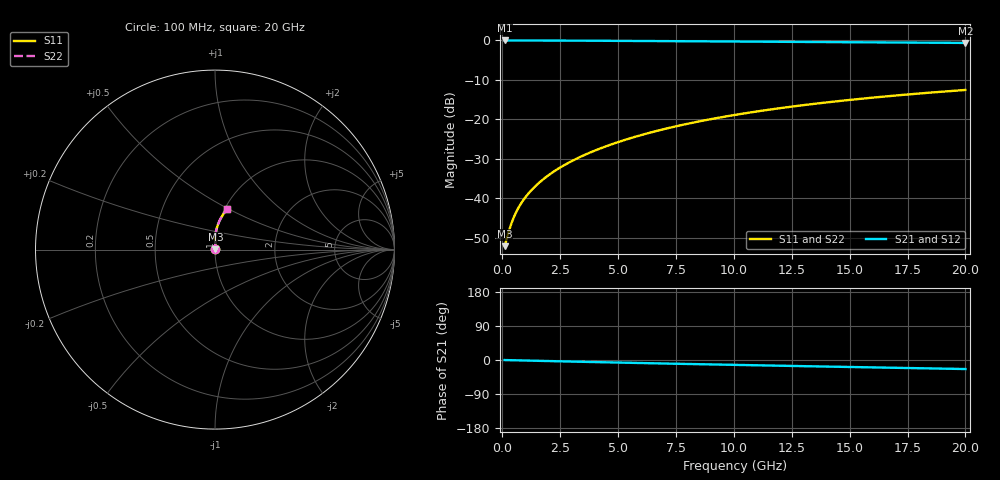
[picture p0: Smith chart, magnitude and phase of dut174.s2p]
! Touchstone file exported from HFSS 2024.1.0
!  File:  C:/UserFiles/LocalFiles/RDL_TSV_Batchsim/temp_RDL_top_174_1778685948.aedt
!  Generated:  11:28:07 PM May 13, 2026
!  Design:  RDL_top
!  Project:  temp_RDL_top_174_1778685948
!  Setup:  Setup1
!  Solution:  Sweep
! Variables:
!  dtsv = 10.80580581um
!  hbump = 3um
!  htsv = 74.75um
!  ldown = 100um
!  lrdl = 308.26um
!  p = 40
!  p1 = 52.04um
!  rhole = 1um
!  t = 450um
!  tdown = 3.915915916um
!  trdl = 2.26um
!  wdown = 15.38538539um
!  wrdl = 26.26um
# GHz S MA R 50.000000
! Terminal data exported
! Port[1] = Box2_T1
! Port[2] = Box2_T2
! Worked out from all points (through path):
!   200 points, 100 MHz to 20 GHz, reference 50 ohm
!   highest |S21| = -0.02 dB at 100 MHz (marker M1); lowest = -0.6 dB at 20 GHz (marker M2)
!   group delay of S21, straight-line fit = 3.27 ps
!   lowest |S11| = -52.1 dB at 100 MHz (marker M3), VSWR 1.00, Z = 50.2 + j0.109 ohm
!   |S11| at or under -10 dB: start of sweep to end of sweep
!   |S22| runs from -52.1 to -12.6 dB; largest |S21 - S12| = 4.2e-15
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0.1  0.002471 26.1  0.9978 -0.1  0.9978 -0.1  0.002471 26.1
! Gamma 0 0 0 0
! Port Impedance 50 0 50 0
0.3  0.00396 54.0  0.9976 -0.4  0.9976 -0.4  0.003961 54.0
0.4  0.004854 60.4  0.9974 -0.6  0.9974 -0.6  0.004855 60.3
0.5  0.005766 64.7  0.9973 -0.7  0.9973 -0.7  0.005766 64.6
0.6  0.006677 67.8  0.9972 -0.9  0.9972 -0.9  0.006676 67.7
0.7  0.007585 70.2  0.997 -1.0  0.997 -1.0  0.007584 70.1
0.9  0.009394 73.8  0.9968 -1.3  0.9968 -1.3  0.009392 73.7
1.2  0.01212 77.5  0.9964 -1.7  0.9964 -1.7  0.01212 77.5
1.7  0.01676 81.5  0.9956 -2.4  0.9956 -2.4  0.01675 81.5
2.2  0.02155 84.1  0.9946 -3.1  0.9946 -3.1  0.02155 84.1
2.8  0.02753 86.2  0.9932 -3.9  0.9932 -3.9  0.02753 86.2
3.5  0.0348 87.7  0.9913 -4.8  0.9913 -4.8  0.0348 87.7
4.2  0.04239 88.6  0.9891 -5.8  0.9891 -5.8  0.04239 88.6
5  0.05143 89.1  0.9864 -6.8  0.9864 -6.8  0.05142 89.1
5.9  0.06198 89.2  0.9831 -7.9  0.9831 -7.9  0.06198 89.2
6.8  0.07288 88.9  0.9797 -9.1  0.9797 -9.1  0.07287 88.9
8.4  0.09281 87.7  0.9735 -11.0  0.9735 -11.0  0.0928 87.7
10.1  0.1144 85.9  0.9669 -13.0  0.9669 -13.0  0.1144 85.8
11.7  0.1347 83.9  0.9607 -14.8  0.9607 -14.8  0.1347 83.9
13.4  0.1562 81.7  0.9542 -16.7  0.9542 -16.7  0.1562 81.7
16.7  0.1968 77.4  0.9415 -20.3  0.9415 -20.3  0.1967 77.4
20  0.2355 73.3  0.9286 -23.8  0.9286 -23.8  0.2354 73.2
